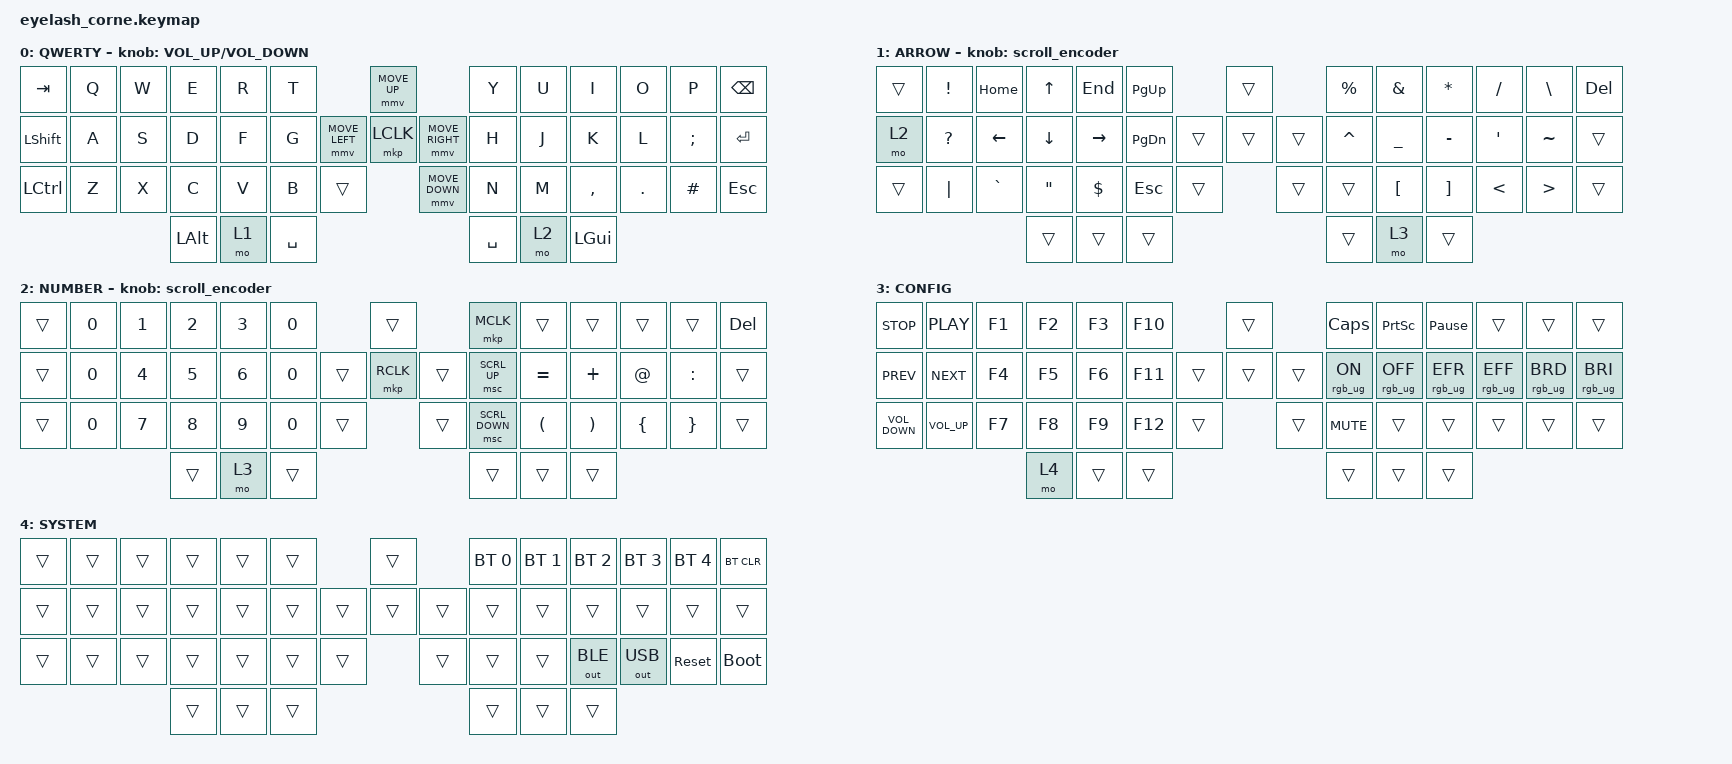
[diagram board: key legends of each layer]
#define ZMK_POINTING_DEFAULT_MOVE_VAL 1200  // 600
#define ZMK_POINTING_DEFAULT_SCRL_VAL 25   // 10

#include <input/processors.dtsi>
#include <zephyr/dt-bindings/input/input-event-codes.h>
#include <behaviors.dtsi>
#include <dt-bindings/zmk/bt.h>
#include <dt-bindings/zmk/keys.h>
#include <dt-bindings/zmk/outputs.h>
#include <dt-bindings/zmk/pointing.h>
#include <dt-bindings/zmk/rgb.h>

&mmv_input_listener { input-processors = <&zip_xy_scaler 2 1>; };

&msc_input_listener { input-processors = <&zip_scroll_scaler 2 1>; };

&msc {
    acceleration-exponent = <1>;      // 0
    time-to-max-speed-ms = <100>;       // 300
    delay-ms = <0>;                   // 0
};

&mmv {
    time-to-max-speed-ms = <500>;
    acceleration-exponent = <1>;
    trigger-period-ms = <16>;
};

&soft_off { hold-time-ms = <2000>; };

/ {
    behaviors {
        td0: td0 {
            compatible = "zmk,behavior-tap-dance";
            display-name = "Shift/Caps Lock Tap Dance";
            #binding-cells = <0>;
            bindings = <&kp LEFT_SHIFT>, <&kp CAPS>;
        };
    };

    rgb_encoder: rgb_encoder {
        compatible = "zmk,behavior-sensor-rotate";
        #sensor-binding-cells = <0>;
        bindings = <&rgb_ug RGB_BRI>, <&rgb_ug RGB_BRD>;
    };

    scroll_encoder: scroll_encoder {
        compatible = "zmk,behavior-sensor-rotate";
        #sensor-binding-cells = <0>;
        bindings = <&msc SCRL_DOWN>, <&msc SCRL_UP>;

        tap-ms = <100>;
    };

    combos {
        compatible = "zmk,combos";

        softoff {
            bindings = <&soft_off>;
            key-positions = <1 15 29>;
        };
    };

    keymap {
        compatible = "zmk,keymap";

        default_layer {
            display-name = "QWERTY";
            bindings = <
&kp TAB     &kp Q  &kp W  &kp E     &kp R  &kp T                                &mmv MOVE_UP                     &kp Y      &kp U  &kp I      &kp O    &kp P     &kp BSPC
&kp LSHIFT  &kp A  &kp S  &kp D     &kp F  &kp G                &mmv MOVE_LEFT  &mkp LCLK       &mmv MOVE_RIGHT  &kp H      &kp J  &kp K      &kp L    &kp SEMI  &kp RET
&kp LCTRL   &kp Z  &kp X  &kp C     &kp V  &kp B      &trans                    &mmv MOVE_DOWN                   &kp N      &kp M  &kp COMMA  &kp DOT  &kp HASH  &kp ESC
                          &kp LALT  &mo 1  &kp SPACE                                                             &kp SPACE  &mo 2  &kp LGUI
            >;

            sensor-bindings = <&inc_dec_kp C_VOLUME_UP C_VOLUME_DOWN>;
        };

        lower_layer {
            display-name = "ARROW";
            bindings = <
&trans  &kp EXCL   &kp HOME   &kp UP             &kp END     &kp PG_UP                    &trans          &kp PERCENT  &kp AMPERSAND  &kp STAR   &kp FSLH       &kp BSLH          &kp DEL
&mo 2   &kp QMARK  &kp LEFT   &kp DOWN           &kp RIGHT   &kp PG_DN            &trans  &trans  &trans  &kp CARET    &kp UNDER      &kp MINUS  &kp SQT        &kp TILDE         &trans
&trans  &kp PIPE   &kp GRAVE  &kp DOUBLE_QUOTES  &kp DOLLAR  &kp ESC    &trans            &trans          &trans       &kp LBKT       &kp RBKT   &kp LESS_THAN  &kp GREATER_THAN  &trans
                              &trans             &trans      &trans                                       &trans       &mo 3          &trans
            >;

            sensor-bindings = <&scroll_encoder>;
        };

        raise_layer {
            display-name = "NUMBER";
            bindings = <
&trans  &kp N0  &kp N1  &kp N2  &kp N3  &kp N0                    &trans             &mkp MCLK       &trans                &trans                 &trans          &trans           &kp DEL
&trans  &kp N0  &kp N4  &kp N5  &kp N6  &kp N0            &trans  &mkp RCLK  &trans  &msc SCRL_UP    &kp EQUAL             &kp PLUS               &kp AT          &kp COLON        &trans
&trans  &kp N0  &kp N7  &kp N8  &kp N9  &kp N0  &trans            &trans             &msc SCRL_DOWN  &kp LEFT_PARENTHESIS  &kp RIGHT_PARENTHESIS  &kp LEFT_BRACE  &kp RIGHT_BRACE  &trans
                        &trans  &mo 3   &trans                                       &trans          &trans                &trans
            >;

            sensor-bindings = <&scroll_encoder>;
        };

        layer_cfg {
            bindings = <
&kp C_STOP         &kp C_PLAY       &kp F1  &kp F2  &kp F3  &kp F10                    &trans          &kp CAPS        &kp PRINTSCREEN  &kp PAUSE_BREAK  &trans           &trans           &trans
&kp C_PREV         &kp C_NEXT       &kp F4  &kp F5  &kp F6  &kp F11            &trans  &trans  &trans  &rgb_ug RGB_ON  &rgb_ug RGB_OFF  &rgb_ug RGB_EFR  &rgb_ug RGB_EFF  &rgb_ug RGB_BRD  &rgb_ug RGB_BRI
&kp C_VOLUME_DOWN  &kp C_VOLUME_UP  &kp F7  &kp F8  &kp F9  &kp F12  &trans            &trans          &kp K_MUTE      &trans           &trans           &trans           &trans           &trans
                                            &mo 4   &trans  &trans                                     &trans          &trans           &trans
            >;

            label = "CONFIG";
        };

        layer_sys {
            bindings = <
&trans  &trans  &trans  &trans  &trans  &trans                    &trans          &bt BT_SEL 0  &bt BT_SEL 1  &bt BT_SEL 2  &bt BT_SEL 3  &bt BT_SEL 4  &bt BT_CLR
&trans  &trans  &trans  &trans  &trans  &trans            &trans  &trans  &trans  &trans        &trans        &trans        &trans        &trans        &trans
&trans  &trans  &trans  &trans  &trans  &trans  &trans            &trans          &trans        &trans        &out OUT_BLE  &out OUT_USB  &sys_reset    &bootloader
                        &trans  &trans  &trans                                    &trans        &trans        &trans
            >;

            label = "SYSTEM";
        };
    };
};
